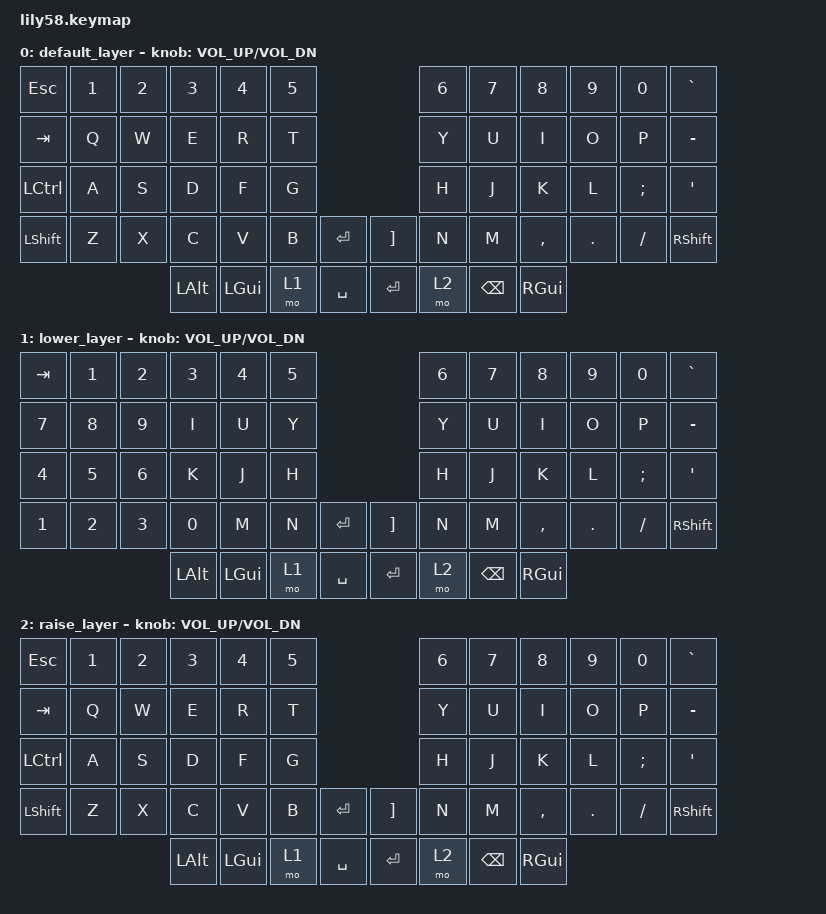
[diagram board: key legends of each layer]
/*
 * Copyright (c) 2020 The ZMK Contributors
 *
 * SPDX-License-Identifier: MIT
 */

#include <behaviors.dtsi>
#include <dt-bindings/zmk/keys.h>
#include <dt-bindings/zmk/bt.h>
#include <dt-bindings/zmk/ext_power.h>

/ {
    keymap {
        compatible = "zmk,keymap";

        default_layer {
            // ------------------------------------------------------------------------------------------------------------
            // |  ESC  |  1  |  2  |  3   |  4   |  5   |                   |  6   |  7    |  8    |  9   |   0   |   `   |
            // |  TAB  |  Q  |  W  |  E   |  R   |  T   |                   |  Y   |  U    |  I    |  O   |   P   |   -   |
            // |  CTRL |  A  |  S  |  D   |  F   |  G   |                   |  H   |  J    |  K    |  L   |   ;   |   '   |
            // | SHIFT |  Z  |  X  |  C   |  V   |  B   |   "["  |  |  "]"  |  N   |  M    |  ,    |  .   |   /   | SHIFT |
            //                     | ALT  | GUI  | LOWER|  SPACE |  | ENTER | RAISE| BSPC  | GUI   |
                       bindings = <
&kp ESC    &kp N1  &kp N2  &kp N3    &kp N4    &kp N5                         &kp N6  &kp N7    &kp N8     &kp N9   &kp N0    &kp GRAVE
&kp TAB    &kp Q   &kp W   &kp E     &kp R     &kp T                          &kp Y   &kp U     &kp I      &kp O    &kp P     &kp MINUS
&kp LCTRL  &kp A   &kp S   &kp D     &kp F     &kp G                          &kp H   &kp J     &kp K      &kp L    &kp SEMI  &kp SQT
&kp LSHFT  &kp Z   &kp X   &kp C     &kp V     &kp B   &kp ENTER    &kp RBKT  &kp N   &kp M     &kp COMMA  &kp DOT  &kp FSLH  &kp RSHFT
                           &kp LALT  &kp LGUI  &mo 1   &kp SPACE    &kp RET   &mo 2   &kp BSPC  &kp RGUI
            >;

            sensor-bindings = <&inc_dec_kp C_VOL_UP C_VOL_DN>;
        };

        lower_layer {
            // ------------------------------------------------------------------------------------------------------------
            // | BTCLR | BT1 | BT2 |  BT3 |  BT4 |  BT5 |                   |      |       |       |      |       |       |
            // |  F1   |  F2 |  F3 |  F4  |  F5  |  F6  |                   |  F7  |  F8   |  F9   |  F10 |  F11  |  F12  |
            // |   `   |  !  |  @  |  #   |  $   |  %   |                   |  ^   |  &    |  *    |  (   |   )   |   ~   |
            // |       |     |     |      |      |      |        |  |       |      |  _    |  +    |  {   |   }   |  "|"  |
            //                     |      |      |      |        |  |       |      |       |       |
            bindings = <
&kp TAB       &kp N1        &kp N2        &kp N3    &kp N4    &kp N5                         &kp N6  &kp N7    &kp N8     &kp N9   &kp N0    &kp GRAVE
&kp N7        &kp N8        &kp N9        &kp I     &kp U     &kp Y                          &kp Y   &kp U     &kp I      &kp O    &kp P     &kp MINUS
&kp NUMBER_4  &kp N5        &kp NUMBER_6  &kp K     &kp J     &kp H                          &kp H   &kp J     &kp K      &kp L    &kp SEMI  &kp SQT
&kp NUMBER_1  &kp NUMBER_2  &kp NUMBER_3  &kp N0    &kp M     &kp N   &kp ENTER    &kp RBKT  &kp N   &kp M     &kp COMMA  &kp DOT  &kp FSLH  &kp RSHFT
                                          &kp LALT  &kp LGUI  &mo 1   &kp SPACE    &kp RET   &mo 2   &kp BSPC  &kp RGUI
            >;

            sensor-bindings = <&inc_dec_kp C_VOL_UP C_VOL_DN>;
        };

        raise_layer {
            // ------------------------------------------------------------------------------------------------------------
            // |       |     |     |      |      |      |                   |      |       |       |      |       |       |
            // |   `   |  1  |  2  |  3   |  4   |  5   |                   |  6   |   7   |   8   |  9   |   0   |       |
            // |   F1  |  F2 |  F3 |  F4  |  F5  |  F6  |                   |      |   <-  |   v   |  ^   |  ->   |       |
            // |   F7  |  F8 |  F9 |  F10 |  F11 |  F12 |        |  |       |  +   |   -   |   =   |  [   |   ]   |   \   |
            //                     |      |      |      |        |  |       |      |       |       |
                        bindings = <
&kp ESC    &kp N1  &kp N2  &kp N3    &kp N4    &kp N5                         &kp N6  &kp N7    &kp N8     &kp N9   &kp N0    &kp GRAVE
&kp TAB    &kp Q   &kp W   &kp E     &kp R     &kp T                          &kp Y   &kp U     &kp I      &kp O    &kp P     &kp MINUS
&kp LCTRL  &kp A   &kp S   &kp D     &kp F     &kp G                          &kp H   &kp J     &kp K      &kp L    &kp SEMI  &kp SQT
&kp LSHFT  &kp Z   &kp X   &kp C     &kp V     &kp B   &kp ENTER    &kp RBKT  &kp N   &kp M     &kp COMMA  &kp DOT  &kp FSLH  &kp RSHFT
                           &kp LALT  &kp LGUI  &mo 1   &kp SPACE    &kp RET   &mo 2   &kp BSPC  &kp RGUI
            >;

            sensor-bindings = <&inc_dec_kp C_VOL_UP C_VOL_DN>;
        };
    };
};
